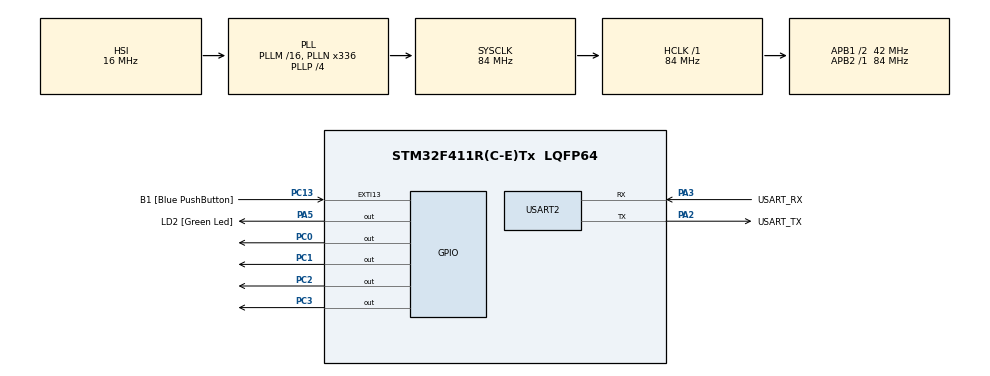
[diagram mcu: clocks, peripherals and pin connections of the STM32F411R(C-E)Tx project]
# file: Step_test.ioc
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Mcu.Family=STM32F4
Mcu.Name=STM32F411R(C-E)Tx
Mcu.Package=LQFP64
NVIC.PriorityGroup=NVIC_PRIORITYGROUP_0
PA13.GPIO_Label=TMS
PA13.Mode=Serial_Wire
PA13.Signal=SYS_JTMS-SWDIO
PA14.GPIO_Label=TCK
PA14.Mode=Serial_Wire
PA14.Signal=SYS_JTCK-SWCLK
PA2.GPIO_Label=USART_TX
PA2.Mode=Asynchronous
PA2.Signal=USART2_TX
PA3.GPIO_Label=USART_RX
PA3.Mode=Asynchronous
PA3.Signal=USART2_RX
PA5.GPIO_Label=LD2 [Green Led]
PA5.Signal=GPIO_Output
PB3.GPIO_Label=SWO
PB3.Signal=SYS_JTDO-SWO
PC0.Signal=GPIO_Output
PC1.Signal=GPIO_Output
PC13-ANTI_TAMP.GPIO_Label=B1 [Blue PushButton]
PC13-ANTI_TAMP.GPIO_ModeDefaultEXTI=GPIO_MODE_IT_FALLING
PC13-ANTI_TAMP.Signal=GPXTI13
PC14-OSC32_IN.Mode=LSE-External-Oscillator
PC14-OSC32_IN.Signal=RCC_OSC32_IN
PC15-OSC32_OUT.Mode=LSE-External-Oscillator
PC15-OSC32_OUT.Signal=RCC_OSC32_OUT
PC2.Signal=GPIO_Output
PC3.Signal=GPIO_Output
PH0\ -\ OSC_IN.Mode=HSE-External-Clock-Source
PH0\ -\ OSC_IN.Signal=RCC_OSC_IN
PH1\ -\ OSC_OUT.Mode=HSE-External-Clock-Source
PH1\ -\ OSC_OUT.Signal=RCC_OSC_OUT
ProjectManager.HeapSize=0x200
ProjectManager.StackSize=0x400
ProjectManager.TargetToolchain=STM32CubeIDE
RCC.48MHZClocksFreq_Value=84000000
RCC.AHBFreq_Value=84000000
RCC.APB1CLKDivider=RCC_HCLK_DIV2
RCC.APB1Freq_Value=42000000
RCC.APB1TimFreq_Value=84000000
RCC.APB2Freq_Value=84000000
RCC.APB2TimFreq_Value=84000000
RCC.CortexFreq_Value=84000000
RCC.FLatency-AdvancedSettings=FLASH_LATENCY_2
RCC.HCLKFreq_Value=84000000
RCC.HSE_VALUE=8000000
RCC.HSI_VALUE=16000000
RCC.PLLN=336
RCC.PLLP=RCC_PLLP_DIV4
RCC.SYSCLKFreq_VALUE=84000000
RCC.SYSCLKSource=RCC_SYSCLKSOURCE_PLLCLK
RCC.VCOOutputFreq_Value=336000000
USART2.VirtualMode=VM_ASYNC
board=NUCLEO-F411RE

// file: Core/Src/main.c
/* USER CODE BEGIN Header */
/**
  ******************************************************************************
  * @file           : main.c
  * @brief          : Main program body
  ******************************************************************************
  * @attention
  *
  * Copyright (c) 2026 STMicroelectronics.
  * All rights reserved.
  *
  * This software is licensed under terms that can be found in the LICENSE file
  * in the root directory of this software component.
  * If no LICENSE file comes with this software, it is provided AS-IS.
  *
  ******************************************************************************
  */
/* USER CODE END Header */
#include "main.h"

UART_HandleTypeDef huart2;

void SystemClock_Config(void);
static void MX_GPIO_Init(void);
static void MX_USART2_UART_Init(void);

/* USER CODE BEGIN 0 */
// 8스텝(Half-step) 구동 시퀀스
const uint8_t half_step_seq[8][4] = {
  {1, 0, 0, 0},
  {1, 1, 0, 0},
  {0, 1, 0, 0},
  {0, 1, 1, 0},
  {0, 0, 1, 0},
  {0, 0, 1, 1},
  {0, 0, 0, 1},
  {1, 0, 0, 1}
};

// 스텝 모터 핀 제어 함수 (PC0 ~ PC3 기준)
void step_motor(int step) {
  HAL_GPIO_WritePin(GPIOC, GPIO_PIN_0, half_step_seq[step][0] ? GPIO_PIN_SET : GPIO_PIN_RESET);
  HAL_GPIO_WritePin(GPIOC, GPIO_PIN_1, half_step_seq[step][1] ? GPIO_PIN_SET : GPIO_PIN_RESET);
  HAL_GPIO_WritePin(GPIOC, GPIO_PIN_2, half_step_seq[step][2] ? GPIO_PIN_SET : GPIO_PIN_RESET);
  HAL_GPIO_WritePin(GPIOC, GPIO_PIN_3, half_step_seq[step][3] ? GPIO_PIN_SET : GPIO_PIN_RESET);
}
/* USER CODE END 0 */

int main(void)
{

  /* MCU Configuration--------------------------------------------------------*/

  /* Reset of all peripherals, Initializes the Flash interface and the Systick. */
  HAL_Init();

  /* Configure the system clock */
  SystemClock_Config();

  /* Initialize all configured peripherals */
  MX_GPIO_Init();
  MX_USART2_UART_Init();

  /* Infinite loop */
    /* USER CODE BEGIN WHILE */
    while (1)
    {
      // 1. 정방향으로 1칸(약 60도) 회전
      for(int i = 0; i < 85; i++) {
        for(int step = 0; step < 8; step++) {
          step_motor(step);
          HAL_Delay(2);
        }
      }

      // ★ 핵심: 대기하는 동안 모터 전자석 전원 완벽 차단 (배터리 전압 회복)
      HAL_GPIO_WritePin(GPIOC, GPIO_PIN_0|GPIO_PIN_1|GPIO_PIN_2|GPIO_PIN_3, GPIO_PIN_RESET);
      HAL_Delay(1000); // 1초 대기

      // 2. 역방향으로 1칸(약 60도) 회전하여 원위치
      for(int i = 0; i < 85; i++) {
        for(int step = 7; step >= 0; step--) {
          step_motor(step);
          HAL_Delay(2);
        }
      }

      // ★ 핵심: 대기 중 전원 차단
      HAL_GPIO_WritePin(GPIOC, GPIO_PIN_0|GPIO_PIN_1|GPIO_PIN_2|GPIO_PIN_3, GPIO_PIN_RESET);
      HAL_Delay(1000); // 1초 대기

      /* USER CODE END WHILE */

    }
}

void SystemClock_Config(void)
{
  RCC_OscInitTypeDef RCC_OscInitStruct = {0};
  RCC_ClkInitTypeDef RCC_ClkInitStruct = {0};

  /** Configure the main internal regulator output voltage
  */
  __HAL_RCC_PWR_CLK_ENABLE();
  __HAL_PWR_VOLTAGESCALING_CONFIG(PWR_REGULATOR_VOLTAGE_SCALE1);

  /** Initializes the RCC Oscillators according to the specified parameters
  * in the RCC_OscInitTypeDef structure.
  */
  RCC_OscInitStruct.OscillatorType = RCC_OSCILLATORTYPE_HSI;
  RCC_OscInitStruct.HSIState = RCC_HSI_ON;
  RCC_OscInitStruct.HSICalibrationValue = RCC_HSICALIBRATION_DEFAULT;
  RCC_OscInitStruct.PLL.PLLState = RCC_PLL_ON;
  RCC_OscInitStruct.PLL.PLLSource = RCC_PLLSOURCE_HSI;
  RCC_OscInitStruct.PLL.PLLM = 16;
  RCC_OscInitStruct.PLL.PLLN = 336;
  RCC_OscInitStruct.PLL.PLLP = RCC_PLLP_DIV4;
  RCC_OscInitStruct.PLL.PLLQ = 4;
  if (HAL_RCC_OscConfig(&RCC_OscInitStruct) != HAL_OK)
  {
    Error_Handler();
  }

  /** Initializes the CPU, AHB and APB buses clocks
  */
  RCC_ClkInitStruct.ClockType = RCC_CLOCKTYPE_HCLK|RCC_CLOCKTYPE_SYSCLK
                              |RCC_CLOCKTYPE_PCLK1|RCC_CLOCKTYPE_PCLK2;
  RCC_ClkInitStruct.SYSCLKSource = RCC_SYSCLKSOURCE_PLLCLK;
  RCC_ClkInitStruct.AHBCLKDivider = RCC_SYSCLK_DIV1;
  RCC_ClkInitStruct.APB1CLKDivider = RCC_HCLK_DIV2;
  RCC_ClkInitStruct.APB2CLKDivider = RCC_HCLK_DIV1;

  if (HAL_RCC_ClockConfig(&RCC_ClkInitStruct, FLASH_LATENCY_2) != HAL_OK)
  {
    Error_Handler();
  }
}

static void MX_USART2_UART_Init(void)
{

  huart2.Instance = USART2;
  huart2.Init.BaudRate = 115200;
  huart2.Init.WordLength = UART_WORDLENGTH_8B;
  huart2.Init.StopBits = UART_STOPBITS_1;
  huart2.Init.Parity = UART_PARITY_NONE;
  huart2.Init.Mode = UART_MODE_TX_RX;
  huart2.Init.HwFlowCtl = UART_HWCONTROL_NONE;
  huart2.Init.OverSampling = UART_OVERSAMPLING_16;
  if (HAL_UART_Init(&huart2) != HAL_OK)
  {
    Error_Handler();
  }

}

static void MX_GPIO_Init(void)
{
  GPIO_InitTypeDef GPIO_InitStruct = {0};

  /* GPIO Ports Clock Enable */
  __HAL_RCC_GPIOC_CLK_ENABLE();
  __HAL_RCC_GPIOH_CLK_ENABLE();
  __HAL_RCC_GPIOA_CLK_ENABLE();
  __HAL_RCC_GPIOB_CLK_ENABLE();

  /*Configure GPIO pin Output Level */
  HAL_GPIO_WritePin(GPIOC, GPIO_PIN_0|GPIO_PIN_1|GPIO_PIN_2|GPIO_PIN_3, GPIO_PIN_RESET);

  /*Configure GPIO pin Output Level */
  HAL_GPIO_WritePin(LD2_GPIO_Port, LD2_Pin, GPIO_PIN_RESET);

  /*Configure GPIO pin : B1_Pin */
  GPIO_InitStruct.Pin = B1_Pin;
  GPIO_InitStruct.Mode = GPIO_MODE_IT_FALLING;
  GPIO_InitStruct.Pull = GPIO_NOPULL;
  HAL_GPIO_Init(B1_GPIO_Port, &GPIO_InitStruct);

  /*Configure GPIO pins : PC0 PC1 PC2 PC3 */
  GPIO_InitStruct.Pin = GPIO_PIN_0|GPIO_PIN_1|GPIO_PIN_2|GPIO_PIN_3;
  GPIO_InitStruct.Mode = GPIO_MODE_OUTPUT_PP;
  GPIO_InitStruct.Pull = GPIO_NOPULL;
  GPIO_InitStruct.Speed = GPIO_SPEED_FREQ_LOW;
  HAL_GPIO_Init(GPIOC, &GPIO_InitStruct);

  /*Configure GPIO pin : LD2_Pin */
  GPIO_InitStruct.Pin = LD2_Pin;
  GPIO_InitStruct.Mode = GPIO_MODE_OUTPUT_PP;
  GPIO_InitStruct.Pull = GPIO_NOPULL;
  GPIO_InitStruct.Speed = GPIO_SPEED_FREQ_LOW;
  HAL_GPIO_Init(LD2_GPIO_Port, &GPIO_InitStruct);

}

void Error_Handler(void)
{
  __disable_irq();
  while (1)
  {
  }
}
